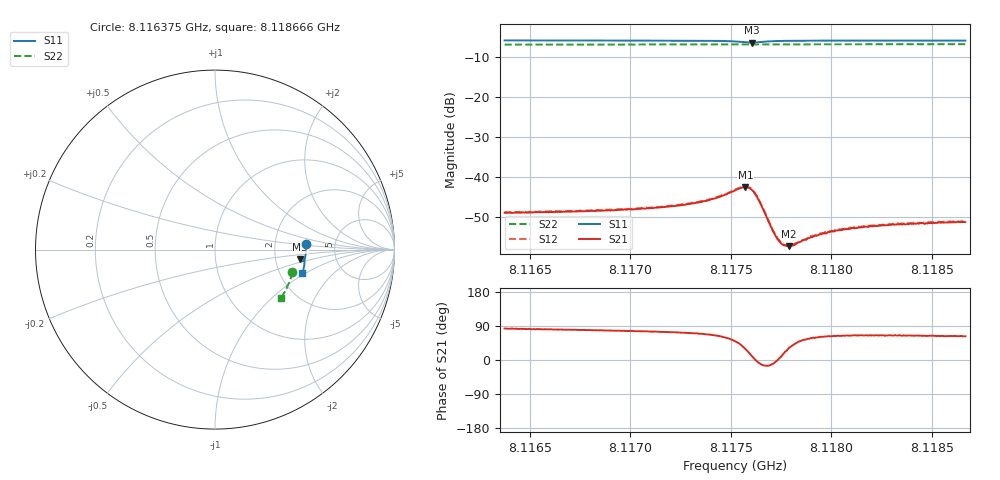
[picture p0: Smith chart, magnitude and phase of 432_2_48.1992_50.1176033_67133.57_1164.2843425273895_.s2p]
#  HZ  S  RI  R  50.00
! Rohde & Schwarz Vector Network Analyzer
! Rohde-Schwarz,ZNB20-2Port,1311601062101988,3.16
! Created: UTC 3/20/2024, 11:55:22 AM
! freq[Hz]  re:S11  im:S11  re:S21  im:S21  re:S12  im:S12  re:S22  im:S22
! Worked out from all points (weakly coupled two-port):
!   401 points, 8.116375 GHz to 8.118666 GHz, reference 50 ohm
!   highest |S21| = -42.51 dB at 8.117572 GHz (marker M1); lowest = -57.2 dB at 8.11779 GHz (marker M2)
!   lowest |S11| = -6.4 dB at 8.117606 GHz (marker M3), VSWR 2.83, Z = 138 - j19.2 ohm
!   |S11| at or under -10 dB: nowhere
!   |S22| runs from -6.9 to -6.8 dB; largest |S21 - S12| = 0.00019
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8.1163747e9  0.5063 0.0308  0.000432 0.00355  0.000493 0.00357  0.4316 -0.1265
8.1167585e9  0.5067 0.00147  0.000661 0.00367  0.000735 0.00373  0.4245 -0.1523
8.1171424e9  0.5049 -0.0287  0.00111 0.00402  0.00117 0.00404  0.4155 -0.1775
8.117257e9  0.5036 -0.0387  0.00139 0.00424  0.00142 0.00435  0.4125 -0.185
8.1173773e9  0.5008 -0.0498  0.00189 0.00467  0.002 0.00477  0.4093 -0.1929
8.1174632e9  0.4963 -0.0588  0.00288 0.00513  0.00294 0.00523  0.4067 -0.1985
8.1175205e9  0.4891 -0.0644  0.00441 0.0052  0.00452 0.00525  0.4047 -0.202
8.1175721e9  0.4778 -0.0627  0.00652 0.00367  0.00668 0.00371  0.4028 -0.205
8.1175892e9  0.4751 -0.0587  0.00691 0.00246  0.00703 0.00249  0.4023 -0.2059
8.1176064e9  0.4747 -0.0535  0.00674 0.00111  0.00687 0.00105  0.4019 -0.2066
8.1176236e9  0.4772 -0.0489  0.00601 -6.37e-05  0.00607 -0.00013  0.4015 -0.2076
8.1176408e9  0.4813 -0.0464  0.00496 -0.000707  0.00506 -0.000781  0.4012 -0.2085
8.1177038e9  0.4937 -0.0504  0.00224 -0.000448  0.00226 -0.000453  0.4 -0.2125
8.1177325e9  0.4962 -0.0542  0.00167 -1.4e-06  0.0017 -1.39e-05  0.3991 -0.2145
8.1177611e9  0.4976 -0.058  0.00136 0.000399  0.0014 0.000389  0.3983 -0.2163
8.1177898e9  0.4984 -0.0614  0.00116 0.000739  0.00122 0.000715  0.3975 -0.2181
8.1178127e9  0.4989 -0.064  0.00108 0.000923  0.00112 0.000909  0.3969 -0.2197
8.1179043e9  0.499 -0.0731  0.000938 0.0015  0.00101 0.00154  0.394 -0.2255
8.1180304e9  0.4979 -0.0843  0.000939 0.00193  0.00101 0.00197  0.3897 -0.2335
8.1181736e9  0.4959 -0.0958  0.000998 0.00218  0.00104 0.00219  0.3847 -0.2421
8.1182882e9  0.4942 -0.1048  0.00106 0.00229  0.00113 0.00235  0.3809 -0.2492
8.1186663e9  0.4872 -0.1327  0.00126 0.00243  0.0013 0.0025  0.3664 -0.2715
